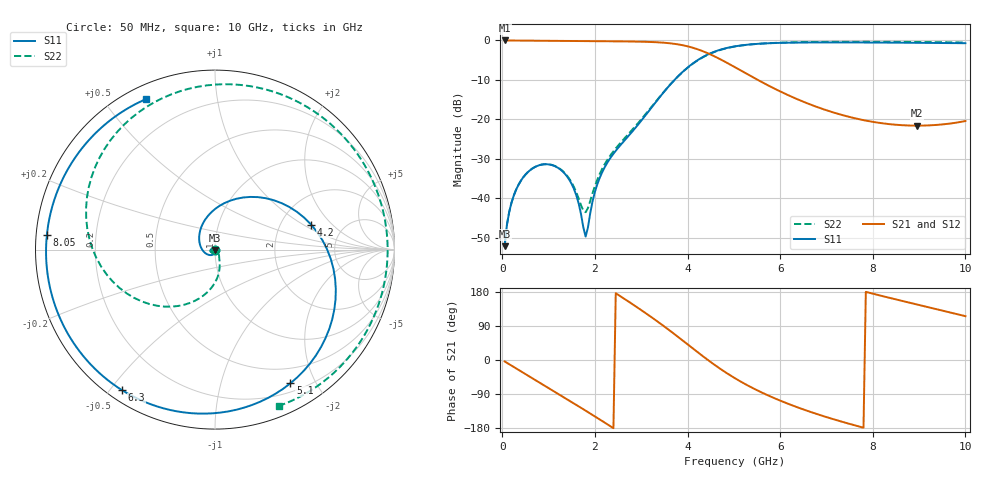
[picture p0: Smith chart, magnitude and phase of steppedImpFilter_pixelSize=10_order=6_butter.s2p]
! freq	dB(S11)	phase(S11)	dB(S12)	phase(S12)
!  dB(S21)	phase(S21)	dB(S22)	phase(S22)
!S-par simulation data
#  GHz  S  DB  R 50
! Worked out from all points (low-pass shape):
!   200 points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, 50 MHz to 10 GHz, reference 50 ohm
!   highest |S21| = -0.01 dB at 50 MHz (marker M1); lowest = -21.6 dB at 8.95 GHz (marker M2)
!   |S21| within 3 dB of the highest: start of sweep to 4.388 GHz
!   lowest |S11| = -52.2 dB at 50 MHz (marker M3), VSWR 1.00, Z = 50 - j0.244 ohm
!   |S11| at or under -10 dB: start of sweep to 3.721 GHz
!   |S22| runs from -52.2 to -0.3 dB; largest |S21 - S12| = 0
!   S11 on the Smith chart (normalised r, x): 50 MHz: 1.00, -0.00; 4.2 GHz: 2.95, +1.19; 5.1 GHz: 0.30, -1.67; 6.3 GHz: 0.04, -0.54; 8.05 GHz: 0.03, +0.04; 10 GHz: 0.06, +0.64
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0.05  -52.18 -83.2  -0.01 -3.8  -0.01 -3.8  -52.19 -83.9
0.15  -43.47 -96.5  -0.02 -11.1  -0.02 -11.1  -43.49 -97.7
0.3  -37.81 -110.0  -0.03 -22.2  -0.03 -22.2  -37.83 -112.4
0.85  -31.51 -151.7  -0.08 -62.7  -0.08 -62.7  -31.48 -158.6
1.45  -35.39 166.9  -0.12 -107.3  -0.12 -107.3  -35.15 147.0
1.75  -47.43 -179.6  -0.15 -129.9  -0.15 -129.9  -43.20 76.1
1.8  -49.76 -144.7  -0.15 -133.7  -0.15 -133.7  -43.57 49.4
2.1  -34.95 -94.1  -0.18 -156.6  -0.18 -156.6  -33.97 -32.6
2.55  -26.57 -142.2  -0.24 168.3  -0.24 168.3  -26.01 -61.8
3.4  -14.37 102.1  -0.50 97.3  -0.50 97.3  -14.27 -91.8
3.75  -9.64 61.7  -0.92 65.2  -0.92 65.2  -9.65 -115.3
4.2  -5.14 14.6  -2.17 22.3  -2.17 22.3  -5.20 -153.7
4.65  -2.57 -26.7  -4.43 -18.5  -4.43 -18.5  -2.63 166.2
5.05  -1.45 -57.2  -6.96 -50.0  -6.96 -50.0  -1.49 133.8
5.1  -1.36 -60.6  -7.29 -53.6  -7.29 -53.6  -1.39 130.1
5.65  -0.77 -93.2  -10.85 -88.5  -10.85 -88.5  -0.76 93.0
6.3  -0.55 -123.4  -14.55 -121.6  -14.55 -121.6  -0.48 57.1
6.7  -0.51 -139.2  -16.47 -138.8  -16.47 -138.8  -0.40 38.2
8.05  -0.53 175.1  -20.75 173.5  -20.75 173.5  -0.34 -13.1
8.35  -0.56 165.8  -21.22 164.3  -21.22 164.3  -0.35 -22.7
8.95  -0.60 147.3  -21.61 146.7  -21.61 146.7  -0.39 -40.3
10  -0.70 114.6  -20.45 115.6  -20.45 115.6  -0.53 -67.8
